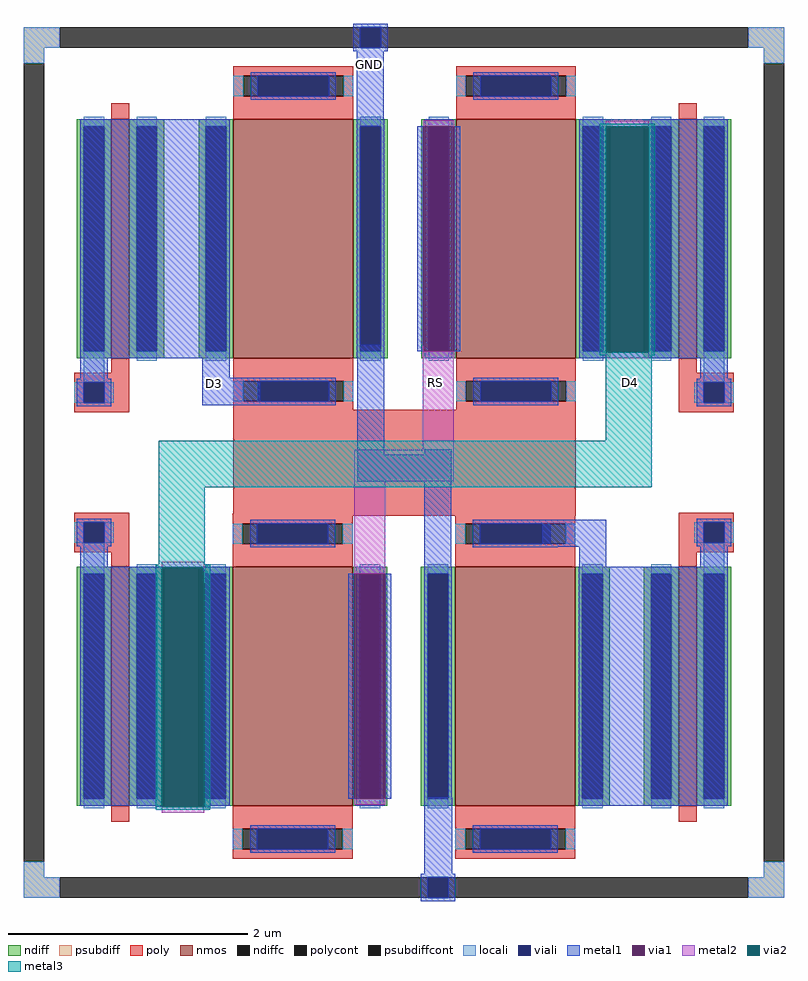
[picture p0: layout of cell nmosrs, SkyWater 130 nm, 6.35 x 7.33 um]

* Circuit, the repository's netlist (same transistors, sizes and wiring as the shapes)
* NGSPICE file created from nmosrs.ext - technology: sky130A

.subckt sky130_fd_pr__nfet_01v8_8UMB6F a_n344_n200# a_286_n200# a_86_n288# a_n86_n200#
+ a_n286_n288# a_28_n200# VSUBS
X0 a_n86_n200# a_n286_n288# a_n344_n200# VSUBS sky130_fd_pr__nfet_01v8 ad=0.58 pd=4.58 as=0.58 ps=4.58 w=2 l=1
X1 a_286_n200# a_86_n288# a_28_n200# VSUBS sky130_fd_pr__nfet_01v8 ad=0.58 pd=4.58 as=0.58 ps=4.58 w=2 l=1
.ends

.subckt sky130_fd_pr__nfet_01v8_TC9PLT a_15_n200# a_n15_n226# a_n73_n200# VSUBS
X0 a_15_n200# a_n15_n226# a_n73_n200# VSUBS sky130_fd_pr__nfet_01v8 ad=0.58 pd=4.58 as=0.58 ps=4.58 w=2 l=0.15
.ends

.subckt nmosrs GND D3 RS D4
Xsky130_fd_pr__nfet_01v8_8UMB6F_0 D4 D3 D3 RS D3 GND GND sky130_fd_pr__nfet_01v8_8UMB6F
Xsky130_fd_pr__nfet_01v8_8UMB6F_1 D3 D4 D3 GND D3 RS GND sky130_fd_pr__nfet_01v8_8UMB6F
Xsky130_fd_pr__nfet_01v8_TC9PLT_0 D4 D4 D4 GND sky130_fd_pr__nfet_01v8_TC9PLT
Xsky130_fd_pr__nfet_01v8_TC9PLT_2 D3 D3 D3 GND sky130_fd_pr__nfet_01v8_TC9PLT
Xsky130_fd_pr__nfet_01v8_TC9PLT_3 D3 D3 D3 GND sky130_fd_pr__nfet_01v8_TC9PLT
Xsky130_fd_pr__nfet_01v8_TC9PLT_4 D4 D4 D4 GND sky130_fd_pr__nfet_01v8_TC9PLT
.ends

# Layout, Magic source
magic
tech sky130A
magscale 1 2
<< psubdiff >>
rect -292 607 -232 641
rect 918 607 978 641
rect -292 581 -258 607
rect 944 581 978 607
rect -292 -779 -258 -753
rect 944 -779 978 -753
rect -292 -813 -232 -779
rect 918 -813 978 -779
<< psubdiffcont >>
rect -232 607 918 641
rect -292 -753 -258 581
rect 944 -753 978 581
rect -232 -813 918 -779
<< poly >>
rect -146 64 -116 88
rect -208 48 -116 64
rect -208 14 -192 48
rect -158 14 -116 48
rect -208 -2 -116 14
rect 802 64 832 88
rect 802 48 894 64
rect 802 14 844 48
rect 878 14 894 48
rect -208 -186 -116 -170
rect 58 -175 630 2
rect 802 -2 894 14
rect -208 -220 -192 -186
rect -158 -220 -116 -186
rect -208 -236 -116 -220
rect -146 -260 -116 -236
rect 802 -186 894 -170
rect 802 -220 844 -186
rect 878 -220 894 -186
rect 802 -236 894 -220
rect 802 -260 832 -236
<< polycont >>
rect -192 14 -158 48
rect 844 14 878 48
rect -192 -220 -158 -186
rect 844 -220 878 -186
<< locali >>
rect -292 607 -232 641
rect 918 607 978 641
rect -292 581 -258 607
rect 944 581 978 607
rect -192 48 -158 88
rect 844 48 878 91
rect -208 14 -192 48
rect -158 14 -142 48
rect 828 14 844 48
rect 878 14 894 48
rect -208 -220 -192 -186
rect -158 -220 -142 -186
rect 828 -220 844 -186
rect 878 -220 894 -186
rect -192 -260 -158 -220
rect 844 -260 878 -220
rect -292 -779 -258 -753
rect 944 -779 978 -753
rect -292 -813 -232 -779
rect 918 -813 978 -779
<< viali >>
rect 270 607 304 641
rect -192 14 -158 48
rect 844 14 878 48
rect -192 -220 -158 -186
rect 844 -220 878 -186
rect 383 -813 417 -779
<< metal1 >>
rect 258 641 316 647
rect 258 607 270 641
rect 304 607 316 641
rect 258 601 316 607
rect -198 88 52 488
rect 264 476 309 601
rect -198 54 -152 88
rect 6 56 52 88
rect -204 48 -146 54
rect -204 14 -192 48
rect -158 14 -146 48
rect -204 8 -146 14
rect 6 10 103 56
rect 265 -73 310 111
rect 365 100 375 476
rect 427 100 437 476
rect 636 475 884 488
rect 636 98 680 475
rect 752 98 884 475
rect 636 88 884 98
rect 838 54 884 88
rect 832 48 890 54
rect 832 14 844 48
rect 878 14 890 48
rect 832 8 890 14
rect 377 -73 422 -64
rect 265 -118 422 -73
rect -204 -186 -146 -180
rect -204 -220 -192 -186
rect -158 -220 -146 -186
rect -204 -226 -146 -220
rect -198 -260 -152 -226
rect -198 -262 52 -260
rect -198 -660 -62 -262
rect -72 -661 -62 -660
rect 9 -660 52 -262
rect 377 -267 422 -118
rect 574 -227 681 -182
rect 832 -186 890 -180
rect 832 -220 844 -186
rect 878 -220 890 -186
rect 832 -226 890 -220
rect 636 -260 681 -227
rect 838 -260 884 -226
rect 250 -648 260 -272
rect 312 -648 322 -272
rect 9 -661 19 -660
rect 377 -773 424 -645
rect 636 -660 884 -260
rect 371 -779 429 -773
rect 371 -813 383 -779
rect 417 -813 429 -779
rect 371 -819 429 -813
<< via1 >>
rect 375 100 427 476
rect 680 98 752 475
rect -62 -661 9 -262
rect 260 -648 312 -272
<< metal2 >>
rect 375 476 427 486
rect 374 100 375 110
rect 374 90 427 100
rect 680 475 752 485
rect 374 -65 426 90
rect 680 88 752 98
rect 260 -117 426 -65
rect -62 -262 9 -252
rect 260 -272 312 -117
rect 260 -658 312 -648
rect -62 -671 9 -661
<< via2 >>
rect 680 98 752 475
rect -62 -269 7 -262
rect -62 -287 8 -269
rect -62 -661 9 -287
<< metal3 >>
rect 670 475 762 480
rect 670 98 680 475
rect 752 98 762 475
rect 670 93 762 98
rect 680 -50 757 93
rect -67 -127 757 -50
rect -67 -257 10 -127
rect -72 -262 19 -257
rect -72 -661 -62 -262
rect 7 -269 19 -262
rect 8 -287 19 -269
rect 9 -661 19 -287
rect -72 -666 19 -661
use sky130_fd_pr__nfet_01v8_8UMB6F  sky130_fd_pr__nfet_01v8_8UMB6F_0
transform 1 0 343 0 1 -460
box -344 -288 344 288
use sky130_fd_pr__nfet_01v8_8UMB6F  sky130_fd_pr__nfet_01v8_8UMB6F_1
transform 1 0 344 0 1 288
box -344 -288 344 288
use sky130_fd_pr__nfet_01v8_TC9PLT  sky130_fd_pr__nfet_01v8_TC9PLT_0
transform 1 0 817 0 1 288
box -73 -226 73 226
use sky130_fd_pr__nfet_01v8_TC9PLT  sky130_fd_pr__nfet_01v8_TC9PLT_2
transform 1 0 817 0 1 -460
box -73 -226 73 226
use sky130_fd_pr__nfet_01v8_TC9PLT  sky130_fd_pr__nfet_01v8_TC9PLT_3
transform 1 0 -131 0 1 288
box -73 -226 73 226
use sky130_fd_pr__nfet_01v8_TC9PLT  sky130_fd_pr__nfet_01v8_TC9PLT_4
transform 1 0 -131 0 1 -460
box -73 -226 73 226
<< labels >>
flabel metal1 s 285 579 285 579 0 FreeSans 800 0 0 0 GND
port 0 nsew
flabel metal3 s 721 47 721 47 0 FreeSans 800 0 0 0 D4
port 3 nsew
flabel metal2 s 396 47 396 47 0 FreeSans 800 0 0 0 RS
port 2 nsew
flabel metal1 s 27 46 27 46 0 FreeSans 800 0 0 0 D3
port 1 nsew
<< end >>

# cell sky130_fd_pr__nfet_01v8_8UMB6F: kit device sky130_fd_pr__nfet_01v8, w 2 l 1 m 1 nf 2 diffcov 100 polycov 100 guard 0 glc 1 grc 1 gtc 1 gbc 1 tbcov 100 rlcov 100 topc 1 botc 1 poverlap 0 doverlap 0 lmin 0.15 wmin 0.42 compatible {sky130_fd_pr__nfet_01v8 sky130_fd_pr__nfet_01v8_lvt sky130_fd_bs_flash__special_sonosfet_star sky130_fd_pr__nfet_g5v0d10v5 sky130_fd_pr__nfet_05v0_nvt sky130_fd_pr__nfet_03v3_nvt} full_metal 1 viasrc 100 viadrn 100 viagate 70 viagb 0 viagr 0 viagl 0 viagt 0

# cell sky130_fd_pr__nfet_01v8_TC9PLT: kit device sky130_fd_pr__nfet_01v8, w 2 l 0.150 m 1 nf 1 diffcov 100 polycov 100 guard 0 glc 1 grc 1 gtc 1 gbc 1 tbcov 100 rlcov 100 topc 0 botc 0 poverlap 0 doverlap 1 lmin 0.15 wmin 0.42 compatible {sky130_fd_pr__nfet_01v8 sky130_fd_pr__nfet_01v8_lvt sky130_fd_bs_flash__special_sonosfet_star sky130_fd_pr__nfet_g5v0d10v5 sky130_fd_pr__nfet_05v0_nvt sky130_fd_pr__nfet_03v3_nvt} full_metal 1 viasrc 100 viadrn 100 viagate 100 viagb 0 viagr 0 viagl 0 viagt 0
